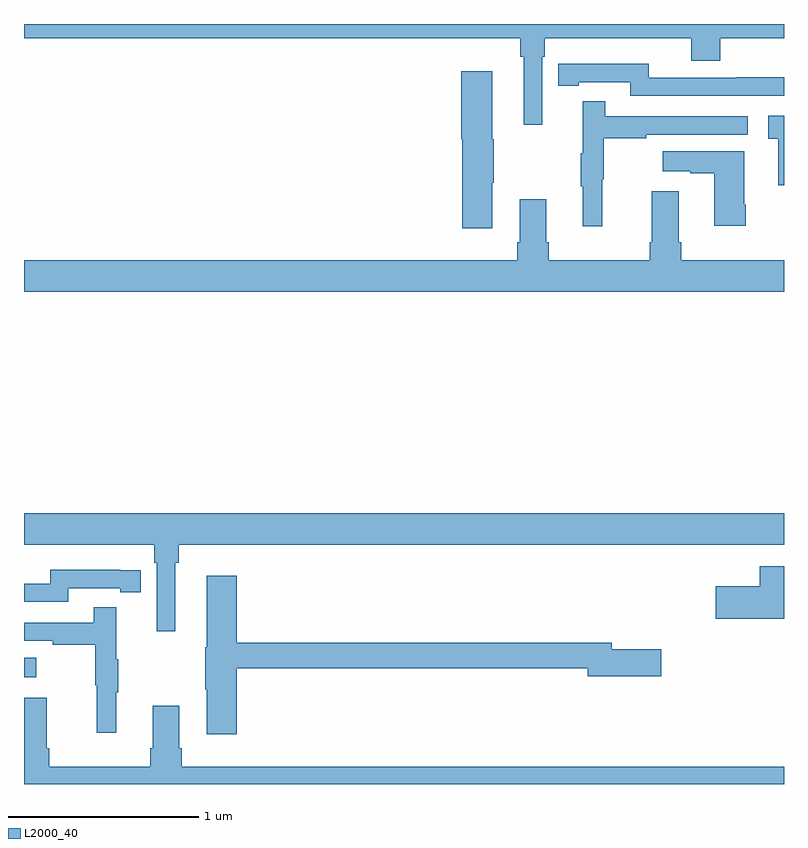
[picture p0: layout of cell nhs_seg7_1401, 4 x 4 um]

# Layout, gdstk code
import gdstk
lib = gdstk.Library(unit=1e-6, precision=1e-09)
def R(c, l, rs):  # rectangles x0, y0, x1, y1
    for r in rs: c.add(gdstk.rectangle(r[:2], r[2:], *l))
def P(c, l, *ps):  # polygons
    for p in ps: c.add(gdstk.Polygon(p, *l))
L2000_40 = (2000, 40)

nhs_seg7_1401 = lib.new_cell('nhs_seg7_1401')
R(nhs_seg7_1401, L2000_40, [(207,1022.561,207.064,1022.665)])
P(nhs_seg7_1401, L2000_40, [(209.727,1025.828),(209.741,1025.828),(209.741,1025.924),(210.512,1025.924),(210.512,1025.807),(210.665,1025.807),(210.665,1025.924),(211,1025.924),(211,1026),(207,1026),(207,1025.924),(209.611,1025.924),(209.611,1025.828),(209.63,1025.828),(209.63,1025.469),(209.727,1025.469)],
  [(211,1025.72),(210.748,1025.72),(210.748,1025.718),(210.288,1025.718),(210.288,1025.791),(209.92,1025.791),(209.92,1025.79),(209.812,1025.79),(209.812,1025.674),(209.92,1025.674),(209.92,1025.694),(210.192,1025.694),(210.192,1025.622),(211,1025.622)],
  [(209.464,1025.164),(209.472,1025.164),(209.472,1025.394),(209.464,1025.394),(209.464,1025.752),(209.3,1025.752),(209.3,1025.394),(209.306,1025.394),(209.306,1024.926),(209.464,1024.926)],
  [(210.044,1025.184),(210.052,1025.184),(210.052,1025.398),(210.275,1025.398),(210.275,1025.418),(210.808,1025.418),(210.808,1025.514),(210.059,1025.514),(210.059,1025.593),(209.942,1025.593),(209.942,1025.321),(209.931,1025.321),(209.931,1025.147),(209.942,1025.147),(209.942,1024.935),(210.044,1024.935)],
  [(211,1025.518),(210.918,1025.518),(210.918,1025.397),(210.971,1025.397),(210.971,1025.151),(211,1025.151)],
  [(210.798,1025.05),(210.79,1025.05),(210.79,1025.329),(210.363,1025.329),(210.363,1025.225),(210.506,1025.225),(210.506,1025.215),(210.632,1025.215),(210.632,1024.938),(210.798,1024.938)],
  [(211,1024.756),(210.458,1024.756),(210.458,1024.852),(210.445,1024.852),(210.445,1025.119),(210.305,1025.119),(210.305,1024.852),(210.293,1024.852),(210.293,1024.756),(209.762,1024.756),(209.762,1024.852),(209.749,1024.852),(209.749,1025.077),(209.609,1025.077),(209.609,1024.852),(209.597,1024.852),(209.597,1024.756),(207,1024.756),(207,1024.592),(211,1024.592)],
  [(207.796,1023.164),(207.815,1023.164),(207.815,1023.26),(211,1023.26),(211,1023.424),(207,1023.424),(207,1023.26),(207.686,1023.26),(207.686,1023.164),(207.699,1023.164),(207.699,1022.805),(207.796,1022.805)],
  [(211,1023.145),(210.872,1023.145),(210.872,1023.04),(210.642,1023.04),(210.642,1022.87),(211,1022.87)],
  [(207.234,1023.03),(207.506,1023.03),(207.506,1023.01),(207.614,1023.01),(207.614,1023.126),(207.506,1023.126),(207.506,1023.127),(207.138,1023.127),(207.138,1023.054),(207,1023.054),(207,1022.958),(207.234,1022.958)],
  [(208.121,1022.608),(209.966,1022.608),(209.966,1022.566),(210.355,1022.566),(210.355,1022.708),(210.094,1022.708),(210.094,1022.744),(208.121,1022.744),(208.121,1023.097),(207.962,1023.097),(207.962,1022.721),(207.955,1022.721),(207.955,1022.5),(207.962,1022.5),(207.962,1022.262),(208.121,1022.262)],
  [(207.485,1022.483),(207.496,1022.483),(207.496,1022.657),(207.485,1022.657),(207.485,1022.929),(207.367,1022.929),(207.367,1022.85),(207,1022.85),(207,1022.754),(207.151,1022.754),(207.151,1022.734),(207.375,1022.734),(207.375,1022.52),(207.382,1022.52),(207.382,1022.271),(207.485,1022.271)],
  [(211,1022.092),(207.83,1022.092),(207.83,1022.188),(207.817,1022.188),(207.817,1022.413),(207.677,1022.413),(207.677,1022.188),(207.665,1022.188),(207.665,1022.092),(207.134,1022.092),(207.134,1022.188),(207.121,1022.188),(207.121,1022.455),(207,1022.455),(207,1022),(211,1022)])

lib.write_gds('nhs_seg7_1401.gds')
